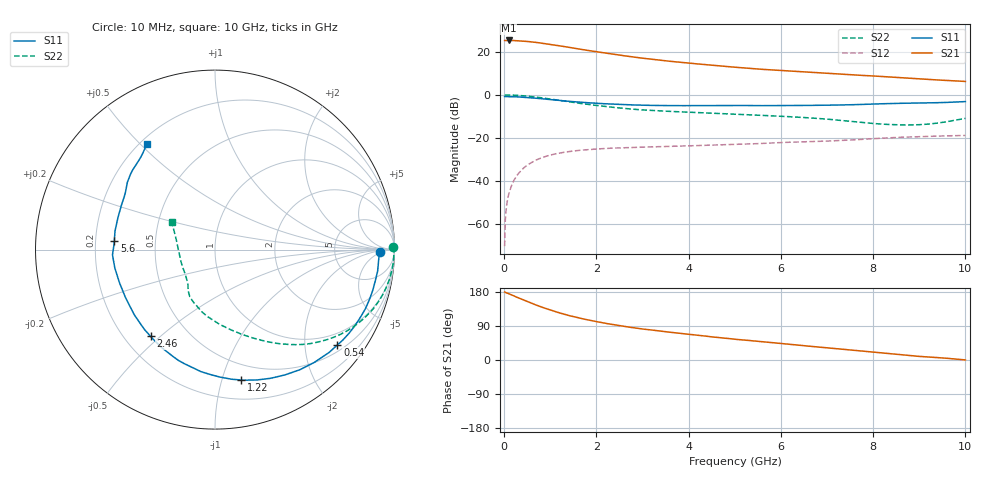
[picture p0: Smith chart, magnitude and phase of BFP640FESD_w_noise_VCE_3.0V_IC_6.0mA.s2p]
! Infineon Technologies  Discrete & RF Semiconductors
! BFP640FESD
! VCE =  3.0 V,  IC =  6.0 mA
! Common Emitter S-Parameters:  Jan 2016
# GHz  S  MA  R  50
!  f  S11  S21  S12  S22
! GHz  MAG  ANG  MAG  ANG  MAG  ANG  MAG  ANG
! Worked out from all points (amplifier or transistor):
!   233 points, 10 MHz to 10 GHz, reference 50 ohm
!   highest |S21| = 25.4 dB at 100 MHz (marker M1)
!   |S21| within 3 dB of that: start of sweep to 1.346 GHz
!   unconditionally stable (mu >= 1): 5.643 GHz to end of sweep
!   at 200 MHz: K = 0.03, MSG = 32.9 dB, |S12| = -40.4 dB
!   at 1.74 GHz: K = 0.33, MSG = 23.3 dB, |S12| = -25.6 dB
!   at 10 GHz: K = 1.18, MAG = 10.0 dB, |S12| = -18.9 dB
!   lowest NFmin = 0.56 dB at 450 MHz
!   S11 on the Smith chart (normalised r, x): 10 MHz: 23, -3; 540 MHz: 0.66, -2.77; 1.22 GHz: 0.36, -1.16; 2.46 GHz: 0.31, -0.46; 5.6 GHz: 0.28, +0.04; 10 GHz: 0.23, +0.52
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0.01  0.9184 -0.7  18.56 179.4  0.0003 -37.2  0.99 0.8
0.02  0.9155 -1.3  18.5 178.8  0.001 79.9  0.9966 -0.8
0.03  0.9147 -2.1  18.48 178.3  0.0015 84.4  0.9966 -1.2
0.1  0.9146 -7.2  18.57 175.0  0.0049 85.5  0.9958 -4.3
0.2  0.9078 -14.4  18.52 169.8  0.0096 81.7  0.9882 -8.6
0.3  0.9003 -21.5  18.33 164.4  0.0143 78.2  0.9761 -12.8
0.54  0.8644 -37.9  17.45 152.3  0.0246 69.4  0.9283 -22.5
0.7  0.8375 -48.6  16.74 144.7  0.0307 64.1  0.8884 -28.5
0.9  0.7997 -60.8  15.63 136.0  0.037 58.1  0.8329 -35.3
1.22  0.7412 -78.6  13.84 123.6  0.0448 50.1  0.7414 -45.0
1.4  0.7109 -87.7  12.86 117.5  0.048 46.4  0.6936 -49.8
1.68  0.6722 -99.9  11.51 109.3  0.0519 41.9  0.6289 -56.2
2  0.6392 -111.6  10.13 101.3  0.055 38.1  0.5692 -62.7
2.46  0.6023 -126.6  8.587 91.4  0.0584 34.0  0.502 -71.3
2.98  0.5782 -140.7  7.22 82.1  0.0607 31.3  0.4494 -79.9
3.4  0.5666 -149.7  6.4 76.1  0.0623 30.3  0.4236 -85.0
4.5  0.5675 -169.6  4.93 61.1  0.0679 29.4  0.3748 -96.6
5.1  0.5696 -178.3  4.338 53.8  0.0708 29.4  0.3506 -102.8
5.6  0.5629 175.3  3.946 48.2  0.0743 30.2  0.3338 -106.8
6.8  0.573 157.4  3.282 34.3  0.0829 28.8  0.283 -121.1
8.4  0.6315 138.1  2.601 16.2  0.1011 27.1  0.204 -153.6
10  0.6999 122.8  2.064 0.2  0.1138 19.9  0.2849 147.8
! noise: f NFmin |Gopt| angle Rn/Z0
0.45  0.56  0.41  7  0.12
2.4  0.71  0.23  58  0.11
5.5  0.99  0.39  149  0.08
10  1.78  0.49  -120  0.24
